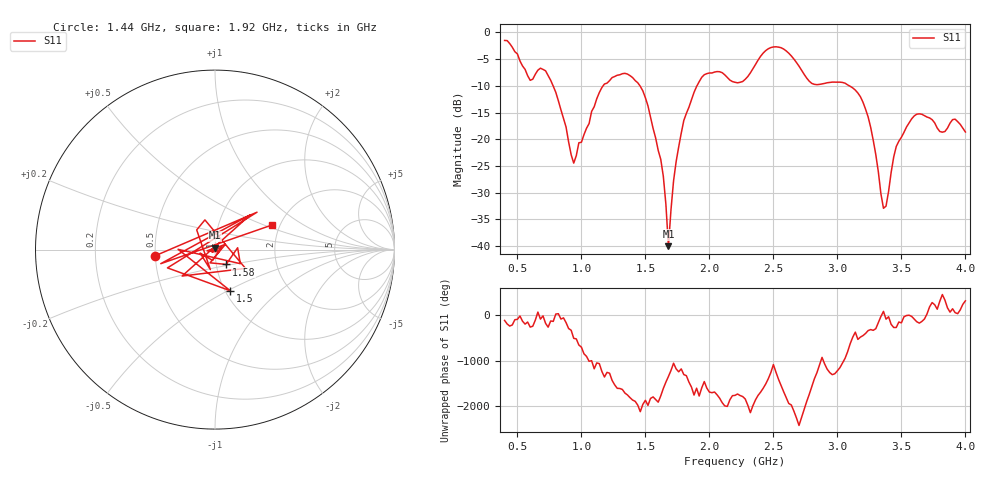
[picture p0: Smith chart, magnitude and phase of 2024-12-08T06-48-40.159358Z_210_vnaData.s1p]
!Created with skrf (http://scikit-rf.org).
# Hz S RI R 50.0
!freq ReS11 ImS11
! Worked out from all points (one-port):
!   181 points, 400 MHz to 4 GHz, reference 50 ohm
!   lowest |S11| = -40.0 dB at 1.68 GHz (marker M1), VSWR 1.02, Z = 50 + j0.998 ohm
!   |S11| at or under -10 dB: 779 MHz to 1.169 GHz (390.3 MHz wide, 40.1 % of centre); 1.458 GHz to 1.903 GHz (444.8 MHz wide, 26.5 % of centre); 3.094 GHz to end of sweep
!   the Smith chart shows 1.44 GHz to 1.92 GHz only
!   S11 on the Smith chart (normalised r, x): 1.44 GHz: 0.50, -0.04; 1.5 GHz: 1.06, -0.52; 1.58 GHz: 1.12, -0.19; 1.92 GHz: 1.82, +0.57
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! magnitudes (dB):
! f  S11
! 400 MHz  -1.5
! 600 MHz  -9.0
! 720 MHz  -7.2
! 860 MHz  -16.1
! 940 MHz  -24.5
! 1.16 GHz  -10.3
! 1.3 GHz  -7.9
! 1.44 GHz  -9.4
! 1.5 GHz  -12.2
! 1.58 GHz  -19.7
! 1.64 GHz  -26.9
! 1.68 GHz  -40.0
! 1.72 GHz  -27.8
! 1.76 GHz  -21.4
! 1.92 GHz  -9.2
! 2.2 GHz  -9.3
! 2.48 GHz  -2.8
! 2.66 GHz  -5.0
! 2.8 GHz  -9.5
! 3.1 GHz  -10.1
! 3.24 GHz  -15.8
! 3.36 GHz  -32.9
! 3.46 GHz  -21.3
! 3.56 GHz  -16.9
! 3.66 GHz  -15.3
! 3.82 GHz  -18.7
! 3.92 GHz  -16.2
! 4 GHz  -18.6
